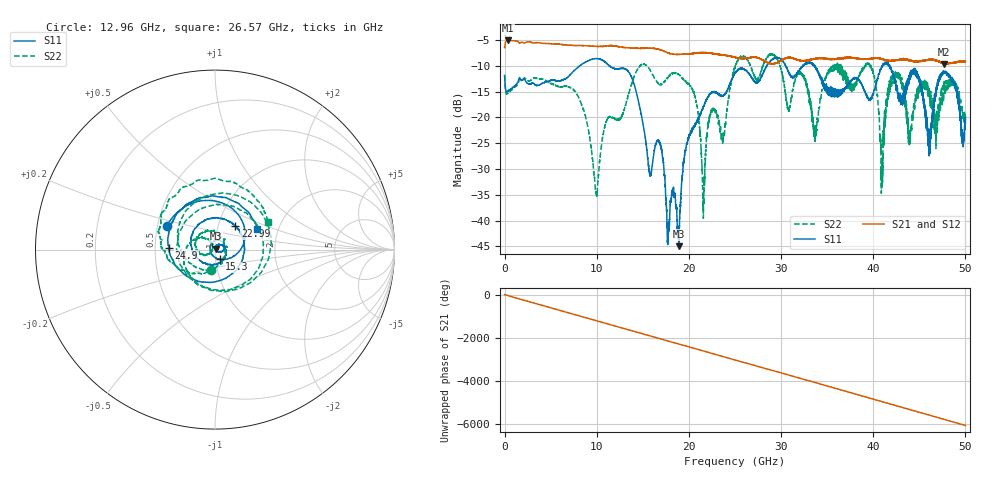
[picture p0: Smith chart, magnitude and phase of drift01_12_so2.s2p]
!Created with skrf (http://scikit-rf.org).
# Hz S RI R 50.0
!freq ReS11 ImS11 ReS21 ImS21 ReS12 ImS12 ReS22 ImS22
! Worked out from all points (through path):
!   10001 points, 300 kHz to 50 GHz, reference 50 ohm
!   highest |S21| = -5.05 dB at 325.3 MHz (marker M1); lowest = -9.7 dB at 47.71 GHz (marker M2)
!   group delay of S21, straight-line fit = 336 ps
!   lowest |S11| = -45.0 dB at 18.91 GHz (marker M3), VSWR 1.01, Z = 50.3 + j0.482 ohm
!   |S11| at or under -10 dB: start of sweep to 8.15 GHz; 11.4 GHz to 28.44 GHz (17.04 GHz wide, 85.6 % of centre); 41.79 GHz to end of sweep (the widest 3 of 15)
!   |S22| runs from -39.6 to -7.6 dB; largest |S21 - S12| = 0.012
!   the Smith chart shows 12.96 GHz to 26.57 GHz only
!   S11 on the Smith chart (normalised r, x): 12.96 GHz: 0.56, +0.16; 15.3 GHz: 1.05, -0.11; 22.99 GHz: 1.21, +0.33; 24.9 GHz: 0.59, +0.01; 26.57 GHz: 1.56, +0.38
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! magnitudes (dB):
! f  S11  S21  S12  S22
! 300 kHz  -11.8  -6.4  -6.5  -11.8
! 325.3 MHz  -15.0  -5.1  -5.1  -15.4
! 8.335 GHz  -9.7  -6.0  -6.0  -17.5
! 9.94 GHz  -8.6  -6.2  -6.2  -34.8
! 12.96 GHz  -10.5  -6.4  -6.4  -18.6
! 15.3 GHz  -24.3  -6.6  -6.6  -9.8
! 16.67 GHz  -24.4  -6.8  -6.8  -13.4
! 17.71 GHz  -43.7  -7.4  -7.4  -12.3
! 18.91 GHz  -45.0  -7.7  -7.8  -11.7
! 20.7 GHz  -21.3  -7.5  -7.5  -16.2
! 21.56 GHz  -17.8  -7.4  -7.4  -37.4
! 22.99 GHz  -15.2  -7.7  -7.7  -19.1
! 24.9 GHz  -11.8  -8.3  -8.3  -10.6
! 25 GHz  -11.4  -8.3  -8.4  -10.3
! 26.57 GHz  -11.6  -8.4  -8.4  -9.5
! 33.34 GHz  -9.6  -8.7  -8.7  -19.7
! 39.49 GHz  -16.4  -8.7  -8.6  -10.0
! 40.94 GHz  -9.9  -8.6  -8.7  -28.8
! 41.67 GHz  -9.8  -8.9  -9.0  -15.5
! 46.06 GHz  -26.1  -8.8  -8.7  -14.2
! 47.71 GHz  -11.3  -9.7  -9.6  -13.3
! 50 GHz  -21.2  -9.1  -9.1  -20.2
